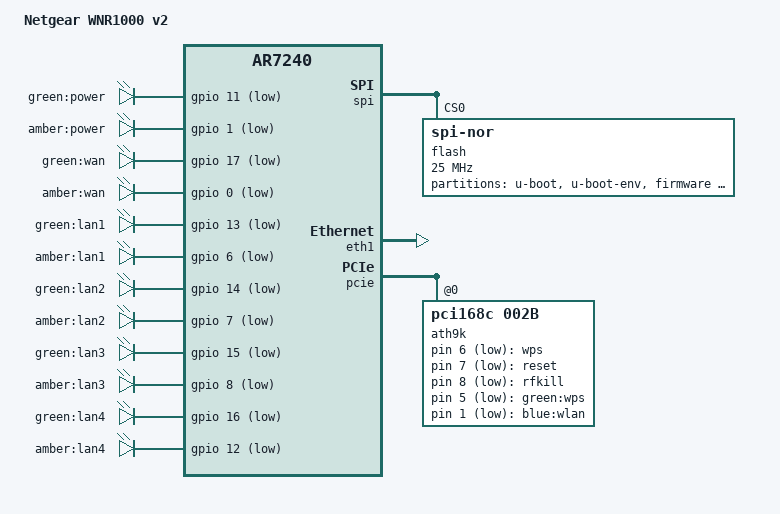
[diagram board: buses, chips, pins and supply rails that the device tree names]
// SPDX-License-Identifier: GPL-2.0-or-later OR MIT

#include "ar7240.dtsi"

#include <dt-bindings/gpio/gpio.h>
#include <dt-bindings/input/input.h>
#include <dt-bindings/mtd/partitions/uimage.h>

/ {
	compatible = "netgear,wnr1000-v2", "qca,ar7240";
	model = "Netgear WNR1000 v2";

	chosen {
		bootargs = "console=ttyS0,115200n8";
	};

	aliases {
		led-boot = &led_power_amber;
		led-failsafe = &led_power_amber;
		led-running = &led_power_green;
		led-upgrade = &led_power_amber;
		label-mac-device = &eth1;
	};

	ath9k-keys {
		compatible = "gpio-keys-polled";
		poll-interval = <20>;

		wps {
			label = "wps";
			linux,code = <KEY_WPS_BUTTON>;
			gpios = <&ath9k 6 GPIO_ACTIVE_LOW>;
			debounce-interval = <60>;
		};

		reset {
			label = "reset";
			linux,code = <KEY_RESTART>;
			gpios = <&ath9k 7 GPIO_ACTIVE_LOW>;
			debounce-interval = <60>;
		};

		rfkill {
			label = "rfkill";
			linux,code = <KEY_RFKILL>;
			gpios = <&ath9k 8 GPIO_ACTIVE_LOW>;
			debounce-interval = <60>;
		};
	};

	leds {
		compatible = "gpio-leds";

		pinctrl-names = "default";
		pinctrl-0 = <&jtag_disable_pins &switch_led_disable_pins &clks_disable_pins>;

		led_power_green: power_green {
			label = "green:power";
			gpios = <&gpio 11 GPIO_ACTIVE_LOW>;
		};

		led_power_amber: power_amber {
			label = "amber:power";
			gpios = <&gpio 1 GPIO_ACTIVE_LOW>;
			default-state = "keep";
		};

		wan_green {
			label = "green:wan";
			gpios = <&gpio 17 GPIO_ACTIVE_LOW>;
		};

		wan_amber {
			label = "amber:wan";
			gpios = <&gpio 0 GPIO_ACTIVE_LOW>;
		};

		lan1_green {
			label = "green:lan1";
			gpios = <&gpio 13 GPIO_ACTIVE_LOW>;
		};

		lan1_amber {
			label = "amber:lan1";
			gpios = <&gpio 6 GPIO_ACTIVE_LOW>;
		};

		lan2_green {
			label = "green:lan2";
			gpios = <&gpio 14 GPIO_ACTIVE_LOW>;
		};

		lan2_amber {
			label = "amber:lan2";
			gpios = <&gpio 7 GPIO_ACTIVE_LOW>;
		};

		lan3_green {
			label = "green:lan3";
			gpios = <&gpio 15 GPIO_ACTIVE_LOW>;
		};

		lan3_amber {
			label = "amber:lan3";
			gpios = <&gpio 8 GPIO_ACTIVE_LOW>;
		};

		lan4_green {
			label = "green:lan4";
			gpios = <&gpio 16 GPIO_ACTIVE_LOW>;
		};

		lan4_amber {
			label = "amber:lan4";
			gpios = <&gpio 12 GPIO_ACTIVE_LOW>;
		};
	};

	ath9k-leds {
		compatible = "gpio-leds";

		wps_green {
			label = "green:wps";
			gpios = <&ath9k 5 GPIO_ACTIVE_LOW>;
		};

		wlan_blue {
			label = "blue:wlan";
			gpios = <&ath9k 1 GPIO_ACTIVE_LOW>;
			linux,default-trigger = "phy0tpt";
		};
	};
};

&spi {
	status = "okay";

	flash@0 {
		compatible = "jedec,spi-nor";
		reg = <0>;
		spi-max-frequency = <25000000>;

		partitions {
			compatible = "fixed-partitions";
			#address-cells = <1>;
			#size-cells = <1>;

			partition@0 {
				label = "u-boot";
				reg = <0x0 0x40000>;
				read-only;
			};

			partition@40000 {
				label = "u-boot-env";
				reg = <0x40000 0x10000>;
			};

			partition@50000 {
				label = "firmware";
				reg = <0x50000 0x3a0000>;
				compatible = "openwrt,uimage", "denx,uimage";
				openwrt,ih-magic = <0x31303031>;
				openwrt,ih-type = <IH_TYPE_FILESYSTEM>;
			};

			art: partition@3f0000 {
				label = "art";
				reg = <0x3f0000 0x10000>;
				read-only;
			};
		};
	};
};

&eth0 {
	mtd-mac-address = <&art 0x0>;
};

&eth1 {
	status = "okay";

	mtd-mac-address = <&art 0x6>;
};

&pcie {
	status = "okay";

	ath9k: wifi@0,0 {
		compatible = "pci168c,002b";
		reg = <0x0000 0 0 0 0>;
		mtd-mac-address = <&art 0x0>;
		mtd-mac-address-increment = <1>;
		qca,no-eeprom;
		#gpio-cells = <2>;
		gpio-controller;
	};
};
